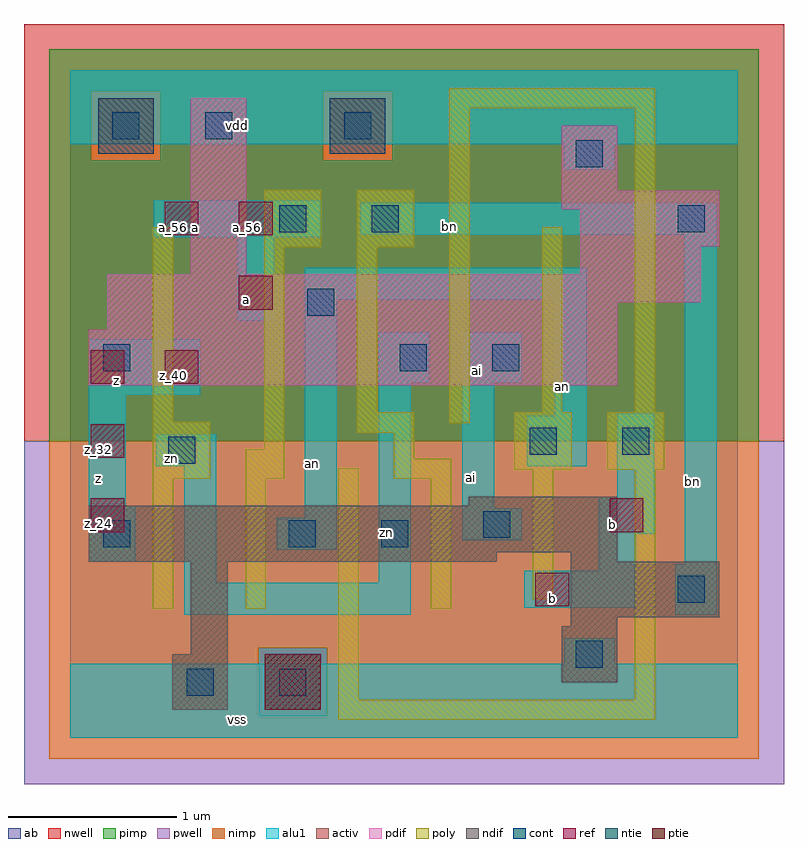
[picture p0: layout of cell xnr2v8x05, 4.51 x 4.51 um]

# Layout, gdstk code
import gdstk
lib = gdstk.Library(unit=1e-6, precision=2.5e-09)
def R(c, l, rs):  # rectangles x0, y0, x1, y1
    for r in rs: c.add(gdstk.rectangle(r[:2], r[2:], *l))
def A(c, l, x, y, w, h, nx, ny, dx, dy):  # array of equal rectangles
    R(c, l, [(x+i*dx, y+j*dy, x+i*dx+w, y+j*dy+h) for i in range(nx) for j in range(ny)])
ndif = (3, 0)
pdif = (4, 0)
ntie = (5, 0)
ptie = (6, 0)
ref = (24, 0)
cont = (25, 0)
pwell = (41, 0)
nwell = (42, 0)
activ = (43, 0)
pimp = (44, 0)
nimp = (45, 0)
poly = (46, 0)
alu1 = (49, 0)
ab = (63, 0)

xnr2v8x05 = lib.new_cell('xnr2v8x05')
R(xnr2v8x05, ndif, [(0.605,0.165,0.935,0.495), (2.915,0.33,3.245,0.66), (0.715,0.495,0.935,1.045), (2.97,0.66,3.245,0.715), (2.97,0.715,3.85,1.045), (0.11,1.045,2.53,1.1), (2.97,1.045,3.245,1.1), (0.11,1.1,3.245,1.375), (2.365,1.375,3.245,1.43)])
R(xnr2v8x05, pdif, [(0.11,2.09,3.245,2.42), (0.22,2.42,3.245,2.585), (0.22,2.585,3.74,2.75), (0.715,2.75,1.045,3.795), (3.025,2.75,3.74,2.915), (3.025,2.915,3.85,3.135), (2.915,3.135,3.85,3.245), (2.915,3.245,3.245,3.63)])
R(xnr2v8x05, ntie, [(0.165,3.465,0.495,3.795), (1.54,3.465,1.87,3.795)])
R(xnr2v8x05, ptie, [(1.155,0.165,1.485,0.495)])
A(xnr2v8x05, ref, 0.12, 1.22, 0.2, 0.2, 1, 3, 0, 0.44)
R(xnr2v8x05, ref, [(2.76,0.78,2.96,0.98), (3.2,1.22,3.4,1.42), (0.56,2.1,0.76,2.3), (1,2.54,1.2,2.74), (0.56,2.98,0.76,3.18), (1,2.98,1.2,3.18)])
R(xnr2v8x05, cont, [(0.69,0.25,0.85,0.41), (1.24,0.25,1.4,0.41), (3,0.415,3.16,0.575), (3.605,0.8,3.765,0.96), (0.195,1.13,0.355,1.29), (1.295,1.13,1.455,1.29), (1.845,1.13,2.005,1.29), (2.45,1.185,2.61,1.345), (0.58,1.625,0.74,1.785), (2.725,1.68,2.885,1.84), (3.275,1.68,3.435,1.84), (0.195,2.175,0.355,2.335), (1.955,2.175,2.115,2.335), (2.505,2.175,2.665,2.335), (1.405,2.505,1.565,2.665), (1.24,3,1.4,3.16), (1.79,3,1.95,3.16), (3.605,3,3.765,3.16), (3,3.385,3.16,3.545), (0.25,3.55,0.41,3.71), (0.8,3.55,0.96,3.71), (1.625,3.55,1.785,3.71)])
R(xnr2v8x05, pwell, [(-0.275,-0.275,4.235,1.76)])
R(xnr2v8x05, nwell, [(-0.275,1.76,4.235,4.235)])
R(xnr2v8x05, activ, [(0.605,0.165,0.935,0.495), (1.155,0.165,1.485,0.495), (2.915,0.33,3.245,0.66), (0.715,0.495,0.935,1.045), (2.97,0.66,3.245,0.715), (2.97,0.715,3.85,1.045), (0.11,1.045,2.53,1.1), (2.97,1.045,3.245,1.1), (0.11,1.1,3.245,1.375), (2.365,1.375,3.245,1.43), (0.11,2.09,3.245,2.42), (0.22,2.42,3.245,2.585), (0.22,2.585,3.74,2.75), (0.715,2.75,1.045,3.795), (3.025,2.75,3.74,2.915), (3.025,2.915,3.85,3.135), (2.915,3.135,3.85,3.245), (2.915,3.245,3.245,3.63), (0.165,3.465,0.495,3.795), (1.54,3.465,1.87,3.795)])
R(xnr2v8x05, pimp, [(1.115,0.125,1.525,0.535), (-0.125,1.76,4.085,3.425), (-0.125,3.425,0.125,3.835), (0.535,3.425,1.5,3.835), (1.91,3.425,4.085,3.835), (-0.125,3.835,4.085,4.085)])
R(xnr2v8x05, nimp, [(-0.125,-0.125,4.085,0.125), (-0.125,0.125,1.115,0.535), (1.525,0.125,4.085,0.535), (-0.125,0.535,4.085,1.76), (0.125,3.425,0.535,3.835), (1.5,3.425,1.91,3.835)])
R(xnr2v8x05, poly, [(1.59,0.105,3.47,0.225), (1.59,0.225,1.71,1.6), (3.35,0.225,3.47,1.59), (0.49,0.765,0.61,1.535), (1.04,0.765,1.16,1.535), (2.14,0.765,2.26,1.535), (2.745,0.82,2.865,1.59), (0.49,1.535,0.83,1.875), (1.04,1.535,1.27,1.71), (1.92,1.535,2.26,1.655), (2.635,1.59,2.975,1.93), (3.185,1.59,3.525,1.93), (1.92,1.655,2.04,1.81), (1.15,1.71,1.27,2.91), (1.7,1.81,2.04,1.93), (2.25,1.865,2.37,3.735), (0.49,1.875,0.61,3.03), (1.7,1.93,1.82,2.91), (2.8,1.93,2.92,3.03), (3.35,1.93,3.47,3.735), (1.15,2.91,1.49,3.25), (1.7,2.91,2.04,3.25), (2.25,3.735,3.47,3.855)])
R(xnr2v8x05, alu1, [(0,0,3.96,0.44), (2.93,0.44,3.23,0.59), (0.675,0.73,2.02,0.92), (3.59,0.73,3.835,1.03), (2.695,0.77,3.355,0.99), (0.675,0.92,0.865,1.61), (1.83,0.92,2.02,2.105), (3.135,0.99,3.355,1.21), (3.645,1.03,3.835,2.985), (0.11,1.045,0.385,1.375), (1.225,1.115,1.58,1.305), (2.325,1.17,2.68,1.36), (3.135,1.21,3.465,1.43), (1.39,1.305,1.58,2.6), (2.325,1.36,2.515,2.105), (0.11,1.375,0.33,2.035), (3.245,1.43,3.465,1.925), (0.51,1.61,0.865,1.8), (2.71,1.61,3.065,1.91), (2.875,1.91,3.065,2.6), (0.11,2.035,0.77,2.365), (1.83,2.105,2.13,2.405), (2.325,2.105,2.68,2.405), (0.99,2.475,1.21,2.97), (1.39,2.6,3.065,2.79), (0.495,2.97,1.485,3.19), (1.72,2.985,3.835,3.175), (2.93,3.37,3.23,3.52), (0,3.52,3.96,3.96)])
R(xnr2v8x05, ab, [(0,0,3.96,3.96)])
xnr2v8x05.add(gdstk.Label('vss', (0.99,0.11), layer=49, texttype=0))
xnr2v8x05.add(gdstk.Label('b', (2.86,0.825), layer=49, texttype=0))
xnr2v8x05.add(gdstk.Label('bn', (3.6925,1.5175), layer=49, texttype=0))
xnr2v8x05.add(gdstk.Label('b', (3.2175,1.265), layer=49, texttype=0))
xnr2v8x05.add(gdstk.Label('an', (2.9225,2.0825), layer=49, texttype=0))
xnr2v8x05.add(gdstk.Label('ai', (2.3725,1.545), layer=49, texttype=0))
xnr2v8x05.add(gdstk.Label('zn', (1.8775,1.215), layer=49, texttype=0))
xnr2v8x05.add(gdstk.Label('ai', (2.4125,2.18), layer=49, texttype=0))
xnr2v8x05.add(gdstk.Label('an', (1.4375,1.6275), layer=49, texttype=0))
xnr2v8x05.add(gdstk.Label('zn', (0.5975,1.6575), layer=49, texttype=0))
xnr2v8x05.add(gdstk.Label('z', (0.165,1.54), layer=49, texttype=0))
xnr2v8x05.add(gdstk.Label('z', (0.275,2.1175), layer=49, texttype=0))
xnr2v8x05.add(gdstk.Label('a', (1.045,2.5975), layer=49, texttype=0))
xnr2v8x05.add(gdstk.Label('bn', (2.2475,3.0325), layer=49, texttype=0))
xnr2v8x05.add(gdstk.Label('a', (0.7425,3.025), layer=49, texttype=0))
xnr2v8x05.add(gdstk.Label('vdd', (0.99,3.63), layer=49, texttype=0))
xnr2v8x05.add(gdstk.Label('z_40', (0.17,2.15), layer=24, texttype=0))
xnr2v8x05.add(gdstk.Label('z_32', (0.17,1.71), layer=24, texttype=0))
xnr2v8x05.add(gdstk.Label('z_24', (0.17,1.27), layer=24, texttype=0))
xnr2v8x05.add(gdstk.Label('z_40', (0.61,2.15), layer=24, texttype=0))
xnr2v8x05.add(gdstk.Label('a_56', (0.61,3.03), layer=24, texttype=0))
xnr2v8x05.add(gdstk.Label('a_56', (1.05,3.03), layer=24, texttype=0))
xnr2v8x05.add(gdstk.Label('a_48', (1.05,2.59), layer=24, texttype=0))
xnr2v8x05.add(gdstk.Label('b_24', (3.25,1.27), layer=24, texttype=0))
xnr2v8x05.add(gdstk.Label('b_16', (2.81,0.83), layer=24, texttype=0))

lib.write_gds('xnr2v8x05.gds')
